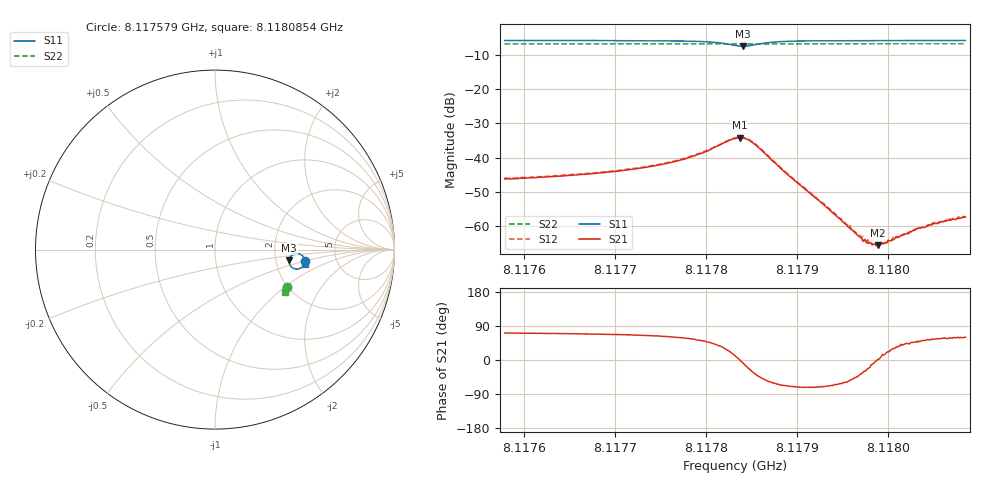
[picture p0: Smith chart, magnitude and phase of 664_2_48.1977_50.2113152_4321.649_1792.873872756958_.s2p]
#  HZ  S  RI  R  50.00
! Rohde & Schwarz Vector Network Analyzer
! Rohde-Schwarz,ZNB20-2Port,1311601062101988,3.16
! Created: UTC 3/20/2024, 12:05:51 PM
! freq[Hz]  re:S11  im:S11  re:S21  im:S21  re:S12  im:S12  re:S22  im:S22
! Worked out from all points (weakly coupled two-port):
!   401 points, 8.117579 GHz to 8.1180854 GHz, reference 50 ohm
!   highest |S21| = -34.20 dB at 8.1178373 GHz (marker M1); lowest = -65.4 dB at 8.1179892 GHz (marker M2)
!   lowest |S11| = -7.6 dB at 8.1178411 GHz (marker M3), VSWR 2.43, Z = 119 - j17.1 ohm
!   |S11| at or under -10 dB: nowhere
!   |S22| runs from -6.9 to -6.9 dB; largest |S21 - S12| = 0.00065
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8.11757901e9  0.503 -0.0615  0.00157 0.00465  0.00162 0.00476  0.403 -0.2064
8.11766383e9  0.5006 -0.0716  0.00208 0.00532  0.00211 0.00545  0.4003 -0.212
8.11771193e9  0.4981 -0.079  0.00263 0.00603  0.00269 0.00618  0.3988 -0.2151
8.11774864e9  0.4941 -0.0868  0.00352 0.007  0.00363 0.00711  0.3974 -0.2176
8.11778662e9  0.4832 -0.0993  0.00606 0.00867  0.0061 0.00876  0.3956 -0.2202
8.117817e9  0.4516 -0.1084  0.0128 0.00917  0.013 0.00915  0.3933 -0.222
8.11783219e9  0.4199 -0.0894  0.0186 0.00372  0.0191 0.00397  0.3918 -0.2218
8.11783725e9  0.4132 -0.0734  0.0195 0.00023  0.0199 0.000326  0.3915 -0.2212
8.11784105e9  0.4128 -0.0594  0.0191 -0.00268  0.0196 -0.00269  0.3915 -0.2209
8.11784738e9  0.4216 -0.0382  0.0166 -0.00687  0.0171 -0.00706  0.3918 -0.2205
8.11785497e9  0.4411 -0.0241  0.0121 -0.0093  0.0124 -0.00966  0.3928 -0.2208
8.11787903e9  0.4832 -0.0309  0.00336 -0.00697  0.0035 -0.0071  0.3936 -0.2229
8.117917e9  0.4978 -0.0516  0.000875 -0.00271  0.000892 -0.00279  0.393 -0.2262
8.11796257e9  0.5005 -0.0644  0.000549 -0.000635  0.000574 -0.000677  0.3914 -0.2294
8.11797523e9  0.5008 -0.067  0.000543 -0.000306  0.000564 -0.000328  0.3911 -0.23
8.11798409e9  0.5008 -0.0686  0.000536 -9.38e-05  0.000543 -0.000124  0.3906 -0.2309
8.11798916e9  0.5007 -0.0694  0.000535 1.47e-05  0.000568 3.04e-05  0.3905 -0.2311
8.11800182e9  0.5009 -0.0715  0.000574 0.000235  0.000583 0.000232  0.3901 -0.2321
8.11800815e9  0.5007 -0.0723  0.00058 0.000353  0.000577 0.00033  0.3899 -0.2324
8.11803093e9  0.5006 -0.0756  0.000595 0.00068  0.000607 0.000709  0.3892 -0.2338
8.11804865e9  0.5005 -0.078  0.0006 0.000863  0.000616 0.000876  0.3887 -0.2351
8.11808536e9  0.4999 -0.0821  0.000678 0.00119  0.000719 0.00121  0.3873 -0.2372
